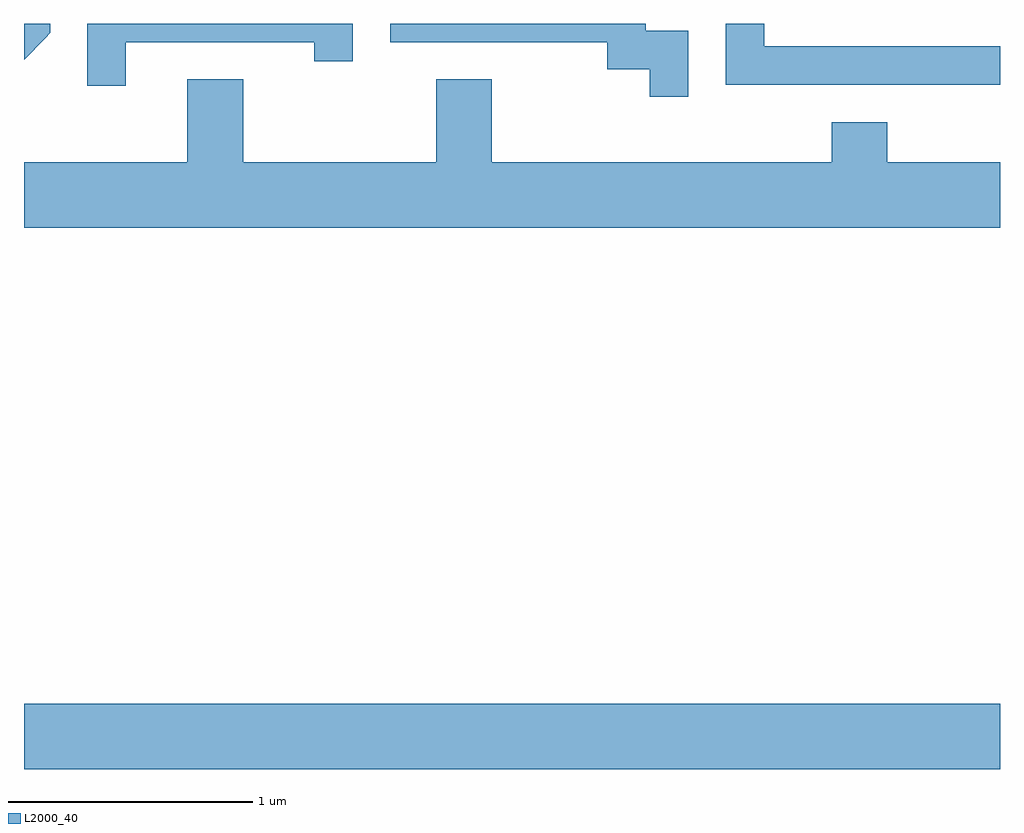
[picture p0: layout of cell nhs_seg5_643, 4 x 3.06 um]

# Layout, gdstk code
import gdstk
lib = gdstk.Library(unit=1e-6, precision=1e-09)
def R(c, l, rs):  # rectangles x0, y0, x1, y1
    for r in rs: c.add(gdstk.rectangle(r[:2], r[2:], *l))
def P(c, l, *ps):  # polygons
    for p in ps: c.add(gdstk.Polygon(p, *l))
L2000_40 = (2000, 40)

nhs_seg5_643 = lib.new_cell('nhs_seg5_643')
R(nhs_seg5_643, L2000_40, [(203.611,1459.016,207.611,1459.284)])
P(nhs_seg5_643, L2000_40, [(206.334,1462.044),(206.159,1462.044),(206.159,1462.072),(205.111,1462.072),(205.111,1461.996),(206.001,1461.996),(206.001,1461.886),(206.176,1461.886),(206.176,1461.773),(206.334,1461.773)],
  [(204.029,1461.996),(204.801,1461.996),(204.801,1461.918),(204.959,1461.918),(204.959,1462.072),(203.871,1462.072),(203.871,1461.818),(204.029,1461.818)],
  [(207.611,1461.979),(206.644,1461.979),(206.644,1462.072),(206.486,1462.072),(206.486,1461.821),(207.611,1461.821)],
  [(203.698,1462.013),(203.719,1462.034),(203.719,1462.072),(203.611,1462.072),(203.611,1461.925)],
  [(207.611,1461.504),(207.149,1461.504),(207.149,1461.669),(206.921,1461.669),(206.921,1461.504),(205.529,1461.504),(205.529,1461.844),(205.301,1461.844),(205.301,1461.504),(204.509,1461.504),(204.509,1461.844),(204.281,1461.844),(204.281,1461.504),(203.611,1461.504),(203.611,1461.236),(207.611,1461.236)])

lib.write_gds('nhs_seg5_643.gds')
